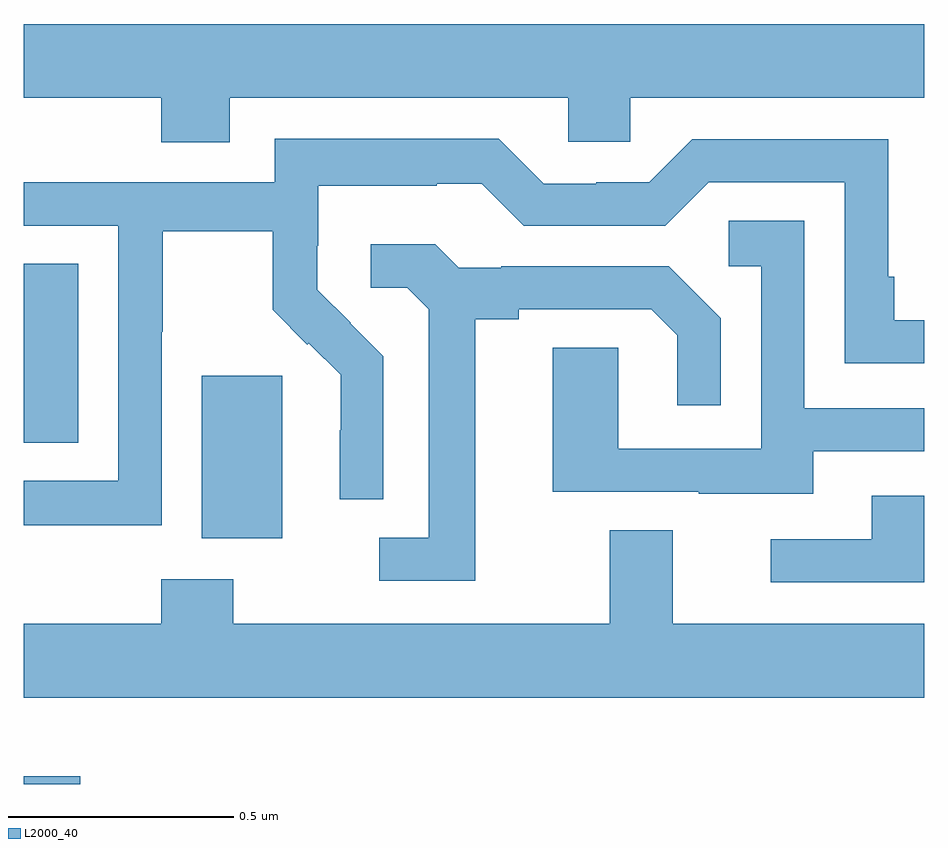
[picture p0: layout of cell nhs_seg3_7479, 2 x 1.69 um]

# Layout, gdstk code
import gdstk
lib = gdstk.Library(unit=1e-6, precision=1e-09)
def R(c, l, rs):  # rectangles x0, y0, x1, y1
    for r in rs: c.add(gdstk.rectangle(r[:2], r[2:], *l))
def P(c, l, *ps):  # polygons
    for p in ps: c.add(gdstk.Polygon(p, *l))
L2000_40 = (2000, 40)

nhs_seg3_7479 = lib.new_cell('nhs_seg3_7479')
R(nhs_seg3_7479, L2000_40, [(204,691.4,204.125,691.417), (204.395,691.946,204.574,692.307), (204,692.158,204.121,692.555)])
P(nhs_seg3_7479, L2000_40, [(204.457,692.924),(205.209,692.924),(205.209,692.826),(205.347,692.826),(205.347,692.924),(206,692.924),(206,693.088),(204,693.088),(204,692.924),(204.305,692.924),(204.305,692.825),(204.457,692.825)],
  [(204.306,692.404),(204.309,692.404),(204.309,692.628),(204.553,692.628),(204.553,692.453),(204.63,692.376),(204.633,692.379),(204.704,692.309),(204.704,692.186),(204.702,692.186),(204.702,692.032),(204.798,692.032),(204.798,692.35),(204.725,692.423),(204.726,692.424),(204.652,692.498),(204.652,692.595),(204.654,692.595),(204.654,692.729),(204.917,692.729),(204.917,692.733),(205.017,692.733),(205.11,692.64),(205.425,692.64),(205.521,692.736),(205.824,692.736),(205.824,692.334),(206,692.334),(206,692.43),(205.933,692.43),(205.933,692.527),(205.92,692.527),(205.92,692.832),(205.485,692.832),(205.389,692.736),(205.271,692.736),(205.271,692.733),(205.155,692.733),(205.055,692.833),(204.558,692.833),(204.558,692.736),(204,692.736),(204,692.64),(204.21,692.64),(204.21,692.073),(204,692.073),(204,691.975),(204.306,691.975)],
  [(205.753,692.139),(206,692.139),(206,692.235),(205.734,692.235),(205.734,692.651),(205.566,692.651),(205.566,692.55),(205.638,692.55),(205.638,692.145),(205.32,692.145),(205.32,692.369),(205.175,692.369),(205.175,692.049),(205.499,692.049),(205.499,692.045),(205.753,692.045)],
  [(205.003,692.432),(205.099,692.432),(205.099,692.454),(205.394,692.454),(205.451,692.397),(205.451,692.241),(205.548,692.241),(205.548,692.434),(205.432,692.55),(205.06,692.55),(205.06,692.547),(204.966,692.547),(204.914,692.599),(204.771,692.599),(204.771,692.502),(204.852,692.502),(204.899,692.455),(204.899,691.947),(204.789,691.947),(204.789,691.851),(205.003,691.851)],
  [(206,692.04),(205.883,692.04),(205.883,691.944),(205.659,691.944),(205.659,691.848),(206,691.848)],
  [(206,691.756),(205.441,691.756),(205.441,691.964),(205.301,691.964),(205.301,691.756),(204.465,691.756),(204.465,691.855),(204.305,691.855),(204.305,691.756),(204,691.756),(204,691.592),(206,691.592)])

lib.write_gds('nhs_seg3_7479.gds')
